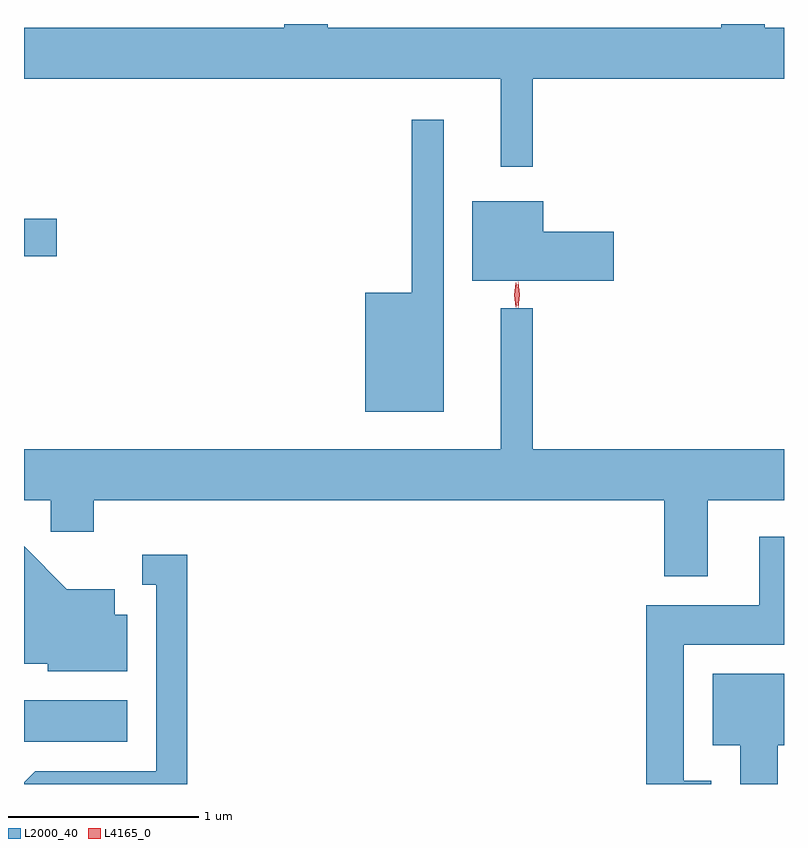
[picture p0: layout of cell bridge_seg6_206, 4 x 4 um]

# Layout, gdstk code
import gdstk
lib = gdstk.Library(unit=1e-6, precision=1e-09)
def R(c, l, rs):  # rectangles x0, y0, x1, y1
    for r in rs: c.add(gdstk.rectangle(r[:2], r[2:], *l))
def P(c, l, *ps):  # polygons
    for p in ps: c.add(gdstk.Polygon(p, *l))
L2000_40 = (2000, 40)
L4165_0 = (4165, 0)

bridge_seg6_206 = lib.new_cell('bridge_seg6_206')
R(bridge_seg6_206, L2000_40, [(1119.261,1557.646,1119.804,1557.864), (1119.261,1560.201,1119.434,1560.399)])
P(bridge_seg6_206, L2000_40, [(1121.939,1561.136),(1123.261,1561.136),(1123.261,1561.404),(1123.159,1561.404),(1123.159,1561.423),(1122.931,1561.423),(1122.931,1561.404),(1120.859,1561.404),(1120.859,1561.423),(1120.631,1561.423),(1120.631,1561.404),(1119.261,1561.404),(1119.261,1561.136),(1121.771,1561.136),(1121.771,1560.673),(1121.939,1560.673)],
  [(1121.469,1560.918),(1121.301,1560.918),(1121.301,1560.009),(1121.056,1560.009),(1121.056,1559.381),(1121.469,1559.381)],
  [(1122.364,1560.329),(1121.994,1560.329),(1121.994,1560.489),(1121.621,1560.489),(1121.621,1560.071),(1122.364,1560.071)],
  [(1122.859,1558.916),(1123.261,1558.916),(1123.261,1559.184),(1121.939,1559.184),(1121.939,1559.928),(1121.771,1559.928),(1121.771,1559.184),(1119.261,1559.184),(1119.261,1558.916),(1119.401,1558.916),(1119.401,1558.751),(1119.629,1558.751),(1119.629,1558.916),(1122.631,1558.916),(1122.631,1558.516),(1122.859,1558.516)],
  [(1122.879,1557.439),(1122.734,1557.439),(1122.734,1558.156),(1123.261,1558.156),(1123.261,1558.724),(1123.131,1558.724),(1123.131,1558.364),(1122.536,1558.364),(1122.536,1557.423),(1122.879,1557.423)],
  [(1119.804,1558.314),(1119.739,1558.314),(1119.739,1558.449),(1119.487,1558.449),(1119.261,1558.675),(1119.261,1558.056),(1119.386,1558.056),(1119.386,1558.016),(1119.804,1558.016)],
  [(1120.119,1558.629),(1119.883,1558.629),(1119.883,1558.471),(1119.956,1558.471),(1119.956,1557.489),(1119.319,1557.489),(1119.261,1557.431),(1119.261,1557.423),(1120.119,1557.423)],
  [(1123.229,1557.626),(1123.261,1557.626),(1123.261,1558.004),(1122.886,1558.004),(1122.886,1557.626),(1123.031,1557.626),(1123.031,1557.423),(1123.229,1557.423)])
P(bridge_seg6_206, L4165_0, [(1121.861,1559.93),(1121.861,1559.93),(1121.851,1559.998),(1121.861,1560.065),(1121.861,1560.066),(1121.862,1560.065),(1121.871,1559.998),(1121.862,1559.93)],
  [(1121.851,1559.933),(1121.85,1559.934),(1121.841,1559.996),(1121.85,1560.06),(1121.85,1560.06),(1121.851,1560.06),(1121.861,1559.996),(1121.851,1559.934)])

lib.write_gds('bridge_seg6_206.gds')
